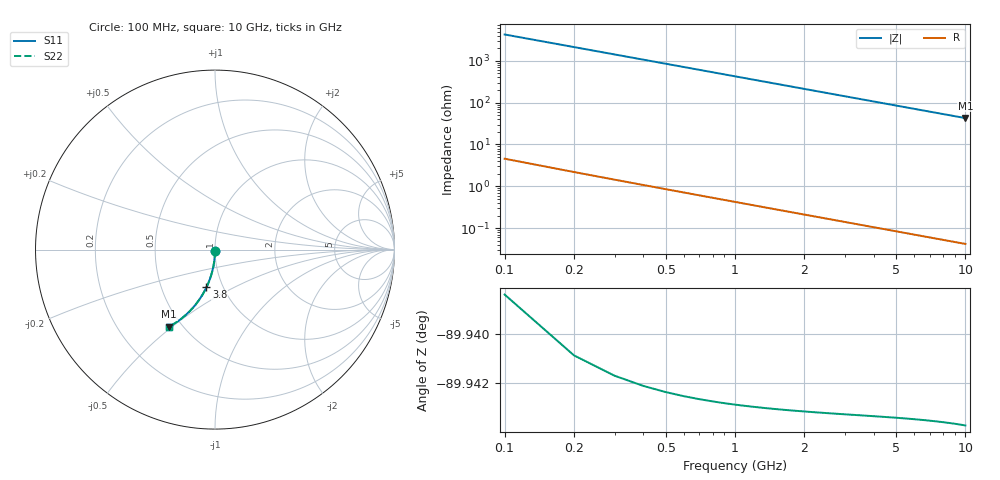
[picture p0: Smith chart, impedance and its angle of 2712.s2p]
# Hz S RI R 50.00
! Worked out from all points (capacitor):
!   100 points, 100 MHz to 10 GHz, reference 50 ohm
!   read as one part in shunt: C = 374 fF near 100 MHz
!   lowest |Z| = 42.8 ohm at 10 GHz (marker M1)
!   S11 on the Smith chart (normalised r, x): 100 MHz: 1.00, -0.01; 3.8 GHz: 0.84, -0.37; 10 GHz: 0.43, -0.49
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1e8  -2.37e-05 -0.00581  0.9999 -0.00593  0.9999 -0.00593  -2.37e-05 -0.00581
2e8  -0.000133 -0.0116  0.9998 -0.0119  0.9998 -0.0119  -0.000133 -0.0116
3e8  -0.000311 -0.0174  0.9997 -0.0178  0.9997 -0.0178  -0.000311 -0.0174
4e8  -0.000557 -0.0232  0.9994 -0.0237  0.9994 -0.0237  -0.000557 -0.0232
5e8  -0.000873 -0.029  0.9991 -0.0296  0.9991 -0.0296  -0.000873 -0.029
6e8  -0.00126 -0.0348  0.9987 -0.0355  0.9987 -0.0355  -0.00126 -0.0348
7e8  -0.00171 -0.0406  0.9983 -0.0415  0.9983 -0.0415  -0.00171 -0.0406
8e8  -0.00223 -0.0464  0.9977 -0.0474  0.9977 -0.0474  -0.00223 -0.0464
9e8  -0.00282 -0.0521  0.9971 -0.0532  0.9971 -0.0532  -0.00282 -0.0521
1.1e9  -0.0042 -0.0636  0.9958 -0.065  0.9958 -0.065  -0.0042 -0.0636
1.4e9  -0.00677 -0.0808  0.9932 -0.0825  0.9932 -0.0825  -0.00677 -0.0808
1.8e9  -0.0111 -0.1034  0.9888 -0.1056  0.9888 -0.1056  -0.0111 -0.1034
2.1e9  -0.0151 -0.1201  0.9849 -0.1227  0.9849 -0.1227  -0.0151 -0.1201
2.5e9  -0.0212 -0.1421  0.9788 -0.1452  0.9788 -0.1452  -0.0212 -0.1421
2.9e9  -0.0283 -0.1636  0.9717 -0.1672  0.9717 -0.1672  -0.0283 -0.1636
3.4e9  -0.0385 -0.1898  0.9615 -0.194  0.9615 -0.194  -0.0385 -0.1898
3.8e9  -0.0476 -0.21  0.9524 -0.2148  0.9524 -0.2148  -0.0476 -0.21
4.4e9  -0.0627 -0.2393  0.9372 -0.2447  0.9372 -0.2447  -0.0627 -0.2393
5.1e9  -0.0824 -0.2714  0.9175 -0.2778  0.9175 -0.2778  -0.0824 -0.2714
6.7e9  -0.1341 -0.3361  0.8658 -0.3445  0.8658 -0.3445  -0.1341 -0.3361
8.4e9  -0.1957 -0.3909  0.8042 -0.4016  0.8042 -0.4016  -0.1957 -0.3909
1e10  -0.2562 -0.4297  0.7436 -0.4424  0.7436 -0.4424  -0.2562 -0.4297
